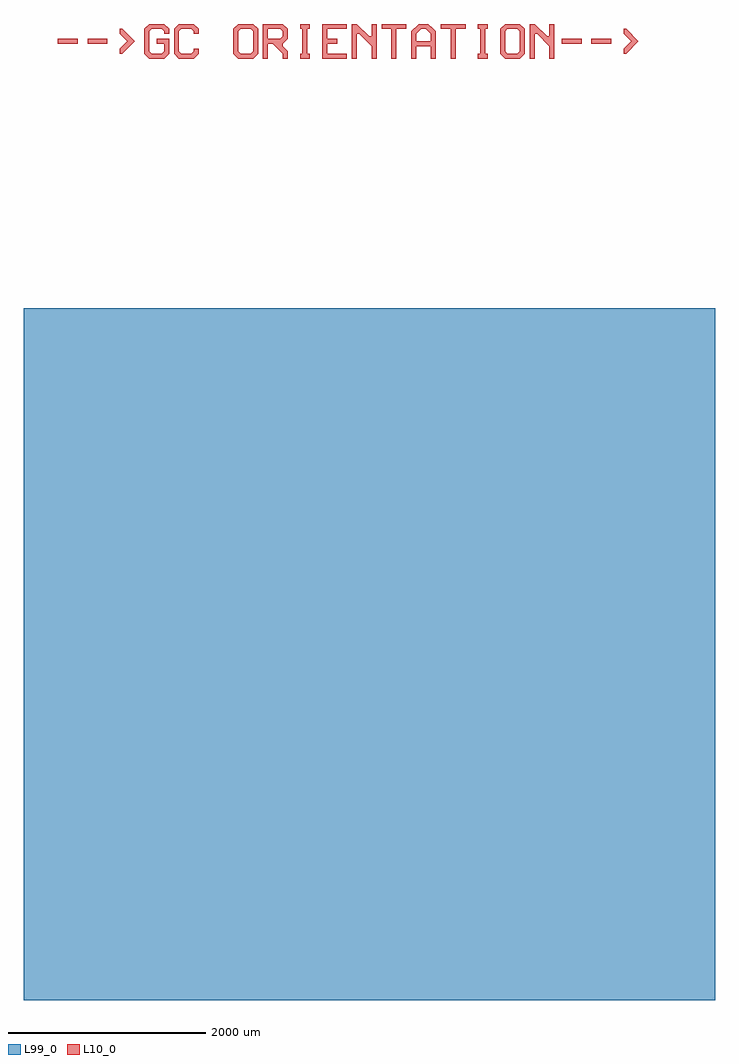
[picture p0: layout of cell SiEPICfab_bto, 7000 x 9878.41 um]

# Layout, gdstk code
import gdstk
lib = gdstk.Library(unit=1e-6, precision=1e-09)
def R(c, l, rs):  # rectangles x0, y0, x1, y1
    for r in rs: c.add(gdstk.rectangle(r[:2], r[2:], *l))
def P(c, l, *ps):  # polygons
    for p in ps: c.add(gdstk.Polygon(p, *l))
L10_0 = (10, 0)
L99_0 = (99, 0)

cell_ring = lib.new_cell('cell_ring')
R(cell_ring, L99_0, [(0,0,6000,2700)])

text_1 = lib.new_cell('TEXT$1')
R(text_1, L10_0, [(25,150,225,200), (325,150,525,200), (5125,150,5325,200), (5425,150,5625,200)])
P(text_1, L10_0, [(3000,0),(3000,350),(3050,350),(3175,225),(3200,225),(3200,350),(3250,350),(3250,0),(3200,0),(3200,125),(3075,250),(3050,250),(3050,0)],
  [(4800,0),(4800,350),(4850,350),(4975,225),(5000,225),(5000,350),(5050,350),(5050,0),(5000,0),(5000,125),(4875,250),(4850,250),(4850,0)],
  [(2700,0),(2700,350),(2950,350),(2950,300),(2750,300),(2750,200),(2850,200),(2850,150),(2750,150),(2750,50),(2950,50),(2950,0)],
  [(1850,0),(1800,50),(1800,300),(1850,350),(2000,350),(2050,300),(2050,175),(2000,175),(2000,275),(1975,300),(1875,300),(1850,275),(1850,75),(1875,50),(1975,50),(2000,75),(2000,175),(2050,175),(2050,50),(2000,0)],
  [(4550,0),(4500,50),(4500,300),(4550,350),(4700,350),(4750,300),(4750,175),(4700,175),(4700,275),(4675,300),(4575,300),(4550,275),(4550,75),(4575,50),(4675,50),(4700,75),(4700,175),(4750,175),(4750,50),(4700,0)],
  [(3400,0),(3400,300),(3300,300),(3300,350),(3550,350),(3550,300),(3450,300),(3450,0)],
  [(4000,0),(4000,300),(3900,300),(3900,350),(4150,350),(4150,300),(4050,300),(4050,0)],
  [(2100,0),(2100,350),(2300,350),(2350,300),(2150,300),(2150,200),(2275,200),(2300,225),(2300,275),(2275,300),(2350,300),(2350,200),(2300,150),(2300,125),(2350,75),(2350,0),(2300,0),(2300,50),(2200,150),(2150,150),(2150,0)],
  [(2475,0),(2475,50),(2500,50),(2500,300),(2475,300),(2475,350),(2575,350),(2575,300),(2550,300),(2550,50),(2575,50),(2575,0)],
  [(4275,0),(4275,50),(4300,50),(4300,300),(4275,300),(4275,350),(4375,350),(4375,300),(4350,300),(4350,50),(4375,50),(4375,0)],
  [(950,0),(900,50),(900,300),(950,350),(1100,350),(1150,300),(1150,250),(1100,250),(1100,275),(1075,300),(975,300),(950,275),(950,75),(975,50),(1075,50),(1100,75),(1100,150),(1025,150),(1025,200),(1150,200),(1150,50),(1100,0)],
  [(1250,0),(1200,50),(1200,300),(1250,350),(1400,350),(1450,300),(1450,250),(1400,250),(1400,275),(1375,300),(1275,300),(1250,275),(1250,75),(1275,50),(1375,50),(1400,75),(1400,100),(1450,100),(1450,50),(1400,0)],
  [(3600,0),(3600,275),(3675,350),(3775,350),(3825,300),(3700,300),(3650,250),(3650,175),(3800,175),(3800,250),(3750,300),(3825,300),(3850,275),(3850,0),(3800,0),(3800,125),(3650,125),(3650,0)],
  [(650,50),(650,100),(725,175),(650,250),(650,300),(675,300),(800,175),(675,50)],
  [(5750,50),(5750,100),(5825,175),(5750,250),(5750,300),(5775,300),(5900,175),(5775,50)])

cell_gc = lib.new_cell('cell_gc')
R(cell_gc, L99_0, [(0,0,6000,3200)])

siepicfab_bto = lib.new_cell('SiEPICfab_bto')
R(siepicfab_bto, L99_0, [(-3500,-3500,3500,3500)])
siepicfab_bto.add(gdstk.Reference(cell_ring, (-3000,-3000)))
siepicfab_bto.add(gdstk.Reference(text_1, (-3178.264,6028.406)))
siepicfab_bto.add(gdstk.Reference(cell_gc, (-3000,-200)))

lib.write_gds('SiEPICfab_bto.gds')
